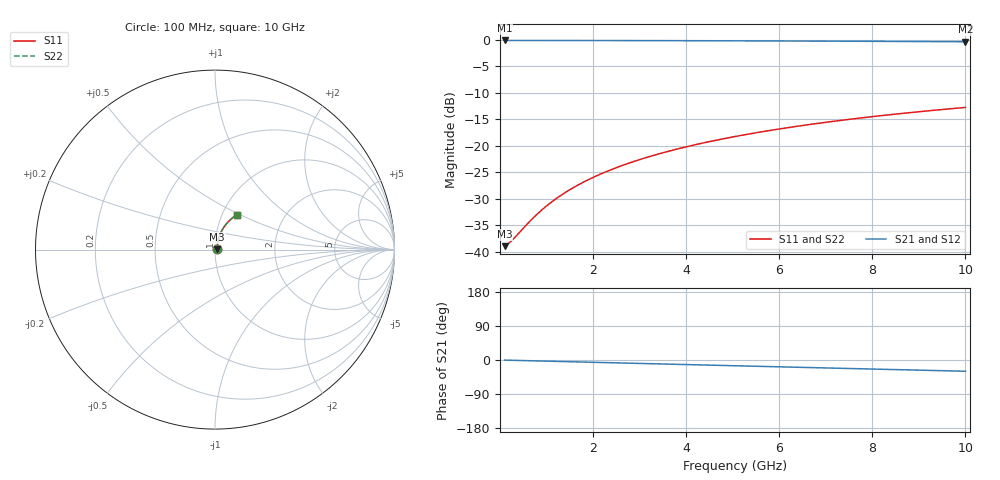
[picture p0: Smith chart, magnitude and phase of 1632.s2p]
# Hz S RI R 50.00
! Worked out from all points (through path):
!   100 points, 100 MHz to 10 GHz, reference 50 ohm
!   highest |S21| = -0.10 dB at 100 MHz (marker M1); lowest = -0.3 dB at 10 GHz (marker M2)
!   group delay of S21, straight-line fit = 8.25 ps
!   lowest |S11| = -39.0 dB at 100 MHz (marker M3), VSWR 1.02, Z = 51.1 + j0.245 ohm
!   |S11| at or under -10 dB: start of sweep to end of sweep
!   |S22| runs from -39.0 to -12.8 dB; largest |S21 - S12| = 0
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1e8  0.011 0.00239  0.989 -0.00521  0.989 -0.00521  0.011 0.00239
2e8  0.0111 0.00479  0.9889 -0.0104  0.9889 -0.0104  0.0111 0.00479
3e8  0.0112 0.00718  0.9887 -0.0156  0.9887 -0.0156  0.0112 0.00718
7e8  0.0119 0.0167  0.9879 -0.0365  0.9879 -0.0365  0.0119 0.0167
8e8  0.0121 0.0191  0.9876 -0.0417  0.9876 -0.0417  0.0121 0.0191
1e9  0.0126 0.0239  0.987 -0.052  0.987 -0.052  0.0126 0.0239
1.2e9  0.0132 0.0286  0.9862 -0.0624  0.9862 -0.0624  0.0132 0.0286
1.4e9  0.0139 0.0333  0.9853 -0.0728  0.9853 -0.0728  0.0139 0.0333
1.6e9  0.0147 0.0381  0.9843 -0.0831  0.9843 -0.0831  0.0147 0.0381
1.8e9  0.0155 0.0427  0.9831 -0.0935  0.9831 -0.0935  0.0155 0.0427
2.1e9  0.017 0.0497  0.9811 -0.1089  0.9811 -0.1089  0.017 0.0497
2.5e9  0.0194 0.059  0.978 -0.1294  0.978 -0.1294  0.0194 0.059
2.9e9  0.0221 0.0681  0.9744 -0.1498  0.9744 -0.1498  0.0221 0.0681
3.4e9  0.0261 0.0793  0.9692 -0.1751  0.9692 -0.1751  0.0261 0.0793
3.8e9  0.0296 0.0881  0.9645 -0.1952  0.9645 -0.1952  0.0296 0.0881
4.2e9  0.0335 0.0968  0.9593 -0.2151  0.9593 -0.2151  0.0335 0.0968
5.1e9  0.0436 0.1155  0.9458 -0.2592  0.9458 -0.2592  0.0436 0.1155
5.9e9  0.054 0.1311  0.9319 -0.2974  0.9319 -0.2974  0.054 0.1311
6.7e9  0.0655 0.1459  0.9163 -0.3347  0.9163 -0.3347  0.0655 0.1459
7.5e9  0.0782 0.1595  0.8989 -0.3708  0.8989 -0.3708  0.0782 0.1595
8.4e9  0.0936 0.1734  0.8776 -0.4101  0.8776 -0.4101  0.0936 0.1734
1e10  0.1236 0.1943  0.8355 -0.476  0.8355 -0.476  0.1236 0.1943
